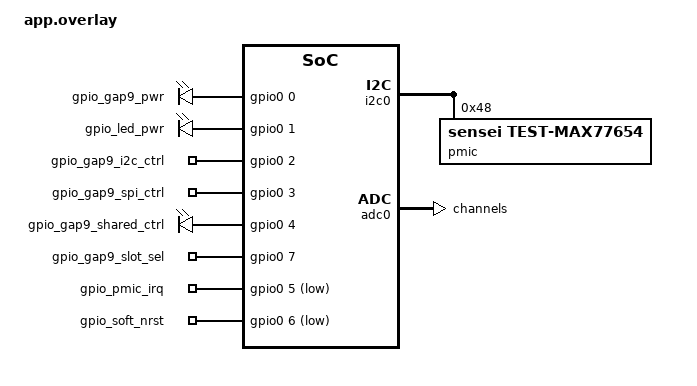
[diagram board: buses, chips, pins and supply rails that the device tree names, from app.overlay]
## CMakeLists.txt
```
# SPDX-FileCopyrightText: 2026 ETH Zurich and University of Bologna
# SPDX-License-Identifier: Apache-2.0
#
# Authors:
# - Philip Wiese <wiesep@iis.ee.ethz.ch>

cmake_minimum_required(VERSION 3.20.0)

# The PMIC binding is in dts/bindings. The i2ca alias and the ADC channel of the board: sensei_sim.overlay.
list(APPEND DTS_ROOT ${CMAKE_CURRENT_LIST_DIR})
list(INSERT EXTRA_DTC_OVERLAY_FILE 0 ${CMAKE_CURRENT_LIST_DIR}/../common/sensei_sim.overlay)

find_package(Zephyr REQUIRED HINTS $ENV{ZEPHYR_BASE})
project(sensei_pwr_test)

target_sources(app PRIVATE src/main.c src/emul_max77654.c)
# bsp/pwr_bsp.h: the board hooks of the application, faked by the test
target_include_directories(app PRIVATE src)

# pwr_off_and_reboot() calls sys_reboot(): the test records it (it does not return, as the real one)
zephyr_ld_options(-Wl,--wrap=sys_reboot)
```

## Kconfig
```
# SPDX-FileCopyrightText: 2026 ETH Zurich and University of Bologna
# SPDX-License-Identifier: Apache-2.0

# Scenario of the power test (testcase.yaml). The module's own options (CONFIG_SENSEI_PWR_*) are set as in an app.

choice SENSEI_TEST_SCENARIO
	prompt "Scenario of the power test"
	default SENSEI_TEST_NORMAL

config SENSEI_TEST_NORMAL
	bool "The PMIC answers at boot: boot hook, init, start, events, battery, button"

config SENSEI_TEST_BOOT_FAIL
	bool "The PMIC does not answer at boot: the boot hook fails and pwr_init() tries again"

config SENSEI_TEST_NO_RAILS
	bool "Boot hook without the rails (SENSEI_PWR_BOOT_RAILS=n)"

endchoice

source "Kconfig.zephyr"
```

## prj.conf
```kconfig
# SPDX-FileCopyrightText: 2026 ETH Zurich and University of Bologna
# SPDX-License-Identifier: Apache-2.0

CONFIG_ZTEST=y
CONFIG_SENSEI=y
CONFIG_SENSEI_PWR=y
# On by default only with the sensor shield
CONFIG_SENSEI_PWR_BOOT_RAILS=y
CONFIG_I2C=y
CONFIG_I2C_EMUL=y
CONFIG_EMUL=y
CONFIG_GPIO=y
CONFIG_GPIO_EMUL=y
CONFIG_ADC=y
CONFIG_ADC_EMUL=y
CONFIG_THREAD_NAME=y
```

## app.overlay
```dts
/*
 * SPDX-FileCopyrightText: 2026 ETH Zurich and University of Bologna
 * SPDX-License-Identifier: Apache-2.0
 */

/* What NRF/system/pwr expects from the board (nrf5340_senseiv1_shared.dtsi), on the GPIO emulator of native_sim: the
 * power switches and the PMIC lines, and the PMIC itself on the emulated I2C bus "i2ca" (sensei_sim.overlay). */

#include <zephyr/dt-bindings/gpio/gpio.h>

/ {
	sensei_pwr: sensei_pwr {
		compatible = "gpio-leds";
		gpio_gap9_pwr: gpio_gap9_pwr {
			gpios = <&gpio0 0 GPIO_ACTIVE_HIGH>;
		};
		gpio_led_pwr: gpio_led_pwr {
			gpios = <&gpio0 1 GPIO_ACTIVE_HIGH>;
		};
	};
	sensei_comm: sensei_comm {
		compatible = "gpio-leds";
		gpio_gap9_i2c_ctrl: gpio_gap9_i2c_ctrl {
			gpios = <&gpio0 2 GPIO_ACTIVE_HIGH>;
		};
		gpio_gap9_spi_ctrl: gpio_gap9_spi_ctrl {
			gpios = <&gpio0 3 GPIO_ACTIVE_HIGH>;
		};
		gpio_gap9_shared_ctrl: gpio_gap9_shared_ctrl {
			gpios = <&gpio0 4 GPIO_ACTIVE_HIGH>;
		};
		gpio_gap9_slot_sel: gpio_gap9_slot_sel {
			gpios = <&gpio0 7 GPIO_ACTIVE_HIGH>;
		};
	};
	sensei_irq: sensei_irq {
		compatible = "gpio-keys";
		gpio_pmic_irq: gpio_pmic_irq {
			gpios = <&gpio0 5 (GPIO_ACTIVE_LOW | GPIO_PULL_UP)>;
		};
		gpio_soft_nrst: gpio_soft_nrst {
			gpios = <&gpio0 6 (GPIO_ACTIVE_LOW | GPIO_PULL_UP)>;
		};
	};
};

&i2c0 {
	pmic: max77654@48 {
		compatible = "sensei,test-max77654";
		reg = <0x48>;
	};
};

/* the battery voltage reaches the SAADC through the PMIC AMUX: 3600 mV full scale as on the board */
&adc0 {
	ref-internal-mv = <3600>;
};

&adc0 {
	channel@0 {
		zephyr,vref-mv = <3600>;
	};
};
```

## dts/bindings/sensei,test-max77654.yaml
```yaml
# Copyright (c) 2026 ETH Zurich and University of Bologna
# SPDX-License-Identifier: Apache-2.0

description: MAX77654 PMIC stand-in of the SENSEI power test (NRF/tests/pwr). The I2C emulator is in the test.

compatible: "sensei,test-max77654"

include: i2c-device.yaml
```

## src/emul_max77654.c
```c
/*
 * SPDX-FileCopyrightText: 2026 ETH Zurich and University of Bologna
 * SPDX-License-Identifier: Apache-2.0
 *
 * Authors:
 * - Philip Wiese <wiesep@iis.ee.ethz.ch>
 */

/* I2C emulator of the Maxim MAX77654 PMIC (address 0x48), enough for NRF/system/pwr and the driver in
 * system/third_party/max77654. Register map and field layout are those of the driver's max77654_reg.h.
 *
 * Modelled:
 *  - a register file with auto-increment, as the driver uses it (one byte per access, burst reads of one);
 *  - the interrupt flag registers INT_GLBL0, INT_GLBL1 and INT_CHG clear on read; the test raises them;
 *  - a soft reset (CNFG_GLBL, SFT_CTRL = SFT_CRST) clears every register, so all rails go off, and the chip does not
 *    answer for PMIC_EMUL_RESET_BUSY_MS (accesses then count as "early": a missing wait of the caller);
 *  - the rails as the registers set them: SBBx voltage 0.8 V + 50 mV * code, LDOx 0.8 V + 25 mV * code (the encoding
 *    of the driver, encode_mV()), on only when the enable field is "enabled" (0b110);
 *  - the charger: enable bit (CNFG_CHG_B), charge voltage 3.6 V + 25 mV * code (CNFG_CHG_G), fast charge current
 *    7.5 mA * (code + 1) (CNFG_CHG_E);
 *  - the charger and input status the test writes to STAT_CHG_B.
 * Not modelled: the interrupt masks, the nEN and nIRQ pins (the test drives the GPIO emulator), the watchdog,
 * flexible power sequencer slots (their enable codes read as off), the AMUX analog path (the ADC emulator answers). */

#define DT_DRV_COMPAT sensei_test_max77654

#include <errno.h>
#include <string.h>
#include <zephyr/device.h>
#include <zephyr/drivers/emul.h>
#include <zephyr/drivers/i2c.h>
#include <zephyr/drivers/i2c_emul.h>

#include "emul_max77654.h"
#include "max77654_reg.h"

BUILD_ASSERT(DT_NUM_INST_STATUS_OKAY(DT_DRV_COMPAT) == 1, "one PMIC node");

#define REG_INT_GLBL0 MAX77654__REG_INT_GLBL0
#define REG_INT_CHG MAX77654__REG_INT_CHG
#define REG_STAT_CHG_A MAX77654__REG_STAT_CHG_A
#define REG_STAT_CHG_B MAX77654__REG_STAT_CHG_B
#define REG_INT_GLBL1 MAX77654__REG_INT_GLBL1
#define REG_CID MAX77654__REG_CID

static struct pmic_emul st;
static uint8_t regs[PMIC_EMUL_REGS];
static uint8_t pend_glbl0, pend_glbl1, pend_chg;
static int64_t busy_until_ms;
static bool first_done;

struct pmic_emul *pmic_emul_get(void) { return &st; }

void pmic_emul_por(void) {
  memset(regs, 0, sizeof(regs));
  /* the enable fields come up "disabled" */
  regs[MAX77654__REG_CNFG_SBB0_B] = regs[MAX77654__REG_CNFG_SBB1_B] = regs[MAX77654__REG_CNFG_SBB2_B] =
      MAX77654__REG_CNFG_SBB0_B__FIELD_EN_SBB__CONST_DISABLED;
  regs[MAX77654__REG_CNFG_LDO0_B] = regs[MAX77654__REG_CNFG_LDO1_B] =
      MAX77654__REG_CNFG_LDO0_B__FIELD_EN_LDO__CONST_DISABLED;
  pend_glbl0 = pend_glbl1 = pend_chg = 0;
}

void pmic_emul_reset_test_state(void) {
  memset(&st, 0, sizeof(st));
  st.present = true;
  st.cid = 0x02;
  st.fail_read_reg = -1;
  st.fail_write_reg = -1;
  busy_until_ms = 0;
  first_done = false;
}

uint8_t pmic_emul_reg(uint8_t reg) { return regs[reg]; }
void pmic_emul_set_reg(uint8_t reg, uint8_t val) { regs[reg] = val; }

void pmic_emul_raise(uint8_t glbl0, uint8_t glbl1, uint8_t chg) {
  pend_glbl0 |= glbl0;
  pend_glbl1 |= glbl1;
  pend_chg |= chg;
}

bool pmic_emul_pending(void) { return (pend_glbl0 | pend_glbl1 | pend_chg) != 0; }

void pmic_emul_set_charger(uint8_t chg_dtls, uint8_t chgin_dtls, bool charging) {
  regs[REG_STAT_CHG_B] = (uint8_t)((chg_dtls << 4) | (chgin_dtls << 2) | (charging ? 0x02 : 0));
}

int pmic_emul_sbb_mv(int sbb) {
  uint8_t a = (uint8_t)(MAX77654__REG_CNFG_SBB0_A + 2 * sbb); /* SBB0 29/2A, SBB1 2B/2C, SBB2 2D/2E */
  uint8_t b = a + 1;

  if ((regs[b] & MAX77654__REG_CNFG_SBB0_B__FIELD_EN_SBB) != MAX77654__REG_CNFG_SBB0_B__FIELD_EN_SBB__CONST_ENABLED) {
    return 0;
  }
  return 800 + 50 * (regs[a] & MAX77654__REG_CNFG_SBB0_A__FIELD_TV_SBB);
}

int pmic_emul_ldo_mv(int ldo) {
  uint8_t a = (uint8_t)(MAX77654__REG_CNFG_LDO0_A + 2 * ldo);
  uint8_t b = a + 1;

  if ((regs[b] & MAX77654__REG_CNFG_LDO0_B__FIELD_EN_LDO) != MAX77654__REG_CNFG_LDO0_B__FIELD_EN_LDO__CONST_ENABLED) {
    return 0;
  }
  return 800 + 25 * (regs[a] & MAX77654__REG_CNFG_LDO0_A__FIELD_TV_LDO);
}

bool pmic_emul_charger_enabled(void) {
  return (regs[MAX77654__REG_CNFG_CHG_B] & MAX77654__REG_CNFG_CHG_B__FIELD_CHG_EN) != 0;
}

int pmic_emul_charge_cv_mv(void) { return 3600 + 25 * (regs[MAX77654__REG_CNFG_CHG_G] >> 2); }

int pmic_emul_charge_cc_x10ma(void) { return 75 * ((regs[MAX77654__REG_CNFG_CHG_E] >> 2) + 1); }

int pmic_emul_amux(void) { return regs[MAX77654__REG_CNFG_CHG_I] & MAX77654__REG_CNFG_CHG_I__FIELD_MUX_SEL; }

static int nack(void) {
  st.nacks++;
  return -EIO;
}

static uint8_t read_reg(uint8_t reg) {
  uint8_t v;

  switch (reg) {
  case REG_INT_GLBL0:
    v = pend_glbl0;
    pend_glbl0 = 0;
    return v;
  case REG_INT_GLBL1:
    v = pend_glbl1;
    pend_glbl1 = 0;
    return v;
  case REG_INT_CHG:
    v = pend_chg;
    pend_chg = 0;
    return v;
  case REG_CID:
    return st.cid;
  default:
    return reg < PMIC_EMUL_REGS ? regs[reg] : 0;
  }
}

static void write_reg(uint8_t reg, uint8_t val) {
  int64_t now = k_uptime_get();

  if (reg >= PMIC_EMUL_REGS) {
    return;
  }
  st.last_write_ms = now;
  st.wcount[reg]++;
  if (st.wlog_len < PMIC_EMUL_WLOG_LEN) {
    st.wlog[st.wlog_len++] = (struct pmic_wlog){.t_ms = now, .reg = reg, .val = val};
  }
  if (reg == MAX77654__REG_CNFG_GLBL &&
      (val & MAX77654__REG_CNFG_GLBL__FIELD_SFT_CTRL) == MAX77654__REG_CNFG_GLBL__FIELD_SFT_CTRL__CONST_SFT_CRST) {
    pmic_emul_por(); /* every register back to its power-up value, the rails go off */
    st.resets++;
    st.reset_ms = now;
    busy_until_ms = now + PMIC_EMUL_RESET_BUSY_MS;
    return;
  }
  regs[reg] = val;
}

static int pmic_emul_transfer(const struct emul *target, struct i2c_msg *msgs, int num_msgs, int addr) {
  uint8_t ptr = 0;
  bool have_ptr = false; /* i2c_burst_write() sends the register in a message of its own */
  int64_t now = k_uptime_get();

  ARG_UNUSED(target);
  st.transfers++;
  if (!first_done) {
    first_done = true;
    if (st.first_access_cb != NULL) {
      st.first_access_cb();
    }
  }
  if (!st.present || addr != DT_INST_REG_ADDR(0)) {
    return nack();
  }
  if (now < busy_until_ms) {
    st.early++;
    return nack();
  }
  for (int i = 0; i < num_msgs; i++) {
    if (msgs[i].flags & I2C_MSG_READ) {
      for (uint32_t n = 0; n < msgs[i].len; n++, ptr++) {
        if (st.fail_read_reg == ptr) {
          return nack();
        }
        msgs[i].buf[n] = read_reg(ptr);
      }
    } else {
      for (uint32_t n = 0; n < msgs[i].len; n++) {
        if (!have_ptr) {
          ptr = msgs[i].buf[n]; /* register pointer */
          have_ptr = true;
          continue;
        }
        if (st.fail_write_reg == ptr) {
          return nack();
        }
        write_reg(ptr++, msgs[i].buf[n]);
      }
    }
  }
  return 0;
}

static const struct i2c_emul_api pmic_emul_api = {
    .transfer = pmic_emul_transfer,
};

static int pmic_emul_init(const struct emul *target, const struct device *parent) {
  ARG_UNUSED(target);
  ARG_UNUSED(parent);
  pmic_emul_reset_test_state();
  pmic_emul_por();
  return 0;
}

/* The emulator needs a device for its node, there is no driver. */
static int pmic_dev_init(const struct device *dev) {
  ARG_UNUSED(dev);
  return 0;
}

#define PMIC_EMUL(n)                                                                                                   \
  DEVICE_DT_INST_DEFINE(n, pmic_dev_init, NULL, NULL, NULL, POST_KERNEL, CONFIG_KERNEL_INIT_PRIORITY_DEVICE, NULL);    \
  EMUL_DT_INST_DEFINE(n, pmic_emul_init, NULL, NULL, &pmic_emul_api, NULL)

DT_INST_FOREACH_STATUS_OKAY(PMIC_EMUL)
```

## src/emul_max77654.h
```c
/*
 * SPDX-FileCopyrightText: 2026 ETH Zurich and University of Bologna
 * SPDX-License-Identifier: Apache-2.0
 *
 * Authors:
 * - Philip Wiese <wiesep@iis.ee.ethz.ch>
 */

#ifndef SENSEI_TEST_EMUL_MAX77654_H_
#define SENSEI_TEST_EMUL_MAX77654_H_

#include <stdbool.h>
#include <stdint.h>

#define PMIC_EMUL_REGS 0x40
#define PMIC_EMUL_WLOG_LEN 64

/* Time the PMIC does not answer after a soft reset (the power module waits 300 ms). */
#define PMIC_EMUL_RESET_BUSY_MS 250

struct pmic_wlog {
  int64_t t_ms;
  uint8_t reg;
  uint8_t val;
};

struct pmic_emul {
  /* Test controls */
  bool present;                  /* false: no ACK */
  uint8_t cid;                   /* answer of the CID register, the driver expects 0x02 */
  int fail_read_reg;             /* NACK a read that touches this register (-1: none) */
  int fail_write_reg;            /* NACK a write to this register (-1: none) */
  void (*first_access_cb)(void); /* called once, at the first transfer (before it is handled) */

  /* Observations */
  int transfers;
  int nacks;
  int early;                                 /* of these: while the PMIC power-cycles after a reset (a missing wait) */
  int resets;                                /* soft resets (CNFG_GLBL, SFT_CTRL = SFT_CRST) */
  int64_t reset_ms;                          /* time of the last one */
  struct pmic_wlog wlog[PMIC_EMUL_WLOG_LEN]; /* the first writes, in order */
  int wlog_len;
  int64_t last_write_ms;
  int wcount[PMIC_EMUL_REGS]; /* writes per register */
};

struct pmic_emul *pmic_emul_get(void);

/* Default state: present, CID 2, no flags, nothing in the log. Registers are not touched (see pmic_emul_por()). */
void pmic_emul_reset_test_state(void);

/* Register contents after power-up (all rails off). */
void pmic_emul_por(void);

/* Raw register access for the test. */
uint8_t pmic_emul_reg(uint8_t reg);
void pmic_emul_set_reg(uint8_t reg, uint8_t val);

/* Interrupt flags that the next read of INT_GLBL0, INT_GLBL1 and INT_CHG returns (they clear on read). */
void pmic_emul_raise(uint8_t glbl0, uint8_t glbl1, uint8_t chg);
/* True when a flag is still pending (not read yet). */
bool pmic_emul_pending(void);

/* STAT_CHG_B: charger details (CHG_DTLS, 0..12), input details (CHGIN_DTLS, 0..3), charging. */
void pmic_emul_set_charger(uint8_t chg_dtls, uint8_t chgin_dtls, bool charging);

/* Output voltage of a rail in mV as the registers set it, 0 when it is not enabled. */
int pmic_emul_sbb_mv(int sbb);
int pmic_emul_ldo_mv(int ldo);
/* Charger: enable bit, charge voltage (mV), fast charge current (x10 mA). */
bool pmic_emul_charger_enabled(void);
int pmic_emul_charge_cv_mv(void);
int pmic_emul_charge_cc_x10ma(void);
/* AMUX selection (0 = off). */
int pmic_emul_amux(void);

#endif /* SENSEI_TEST_EMUL_MAX77654_H_ */
```
